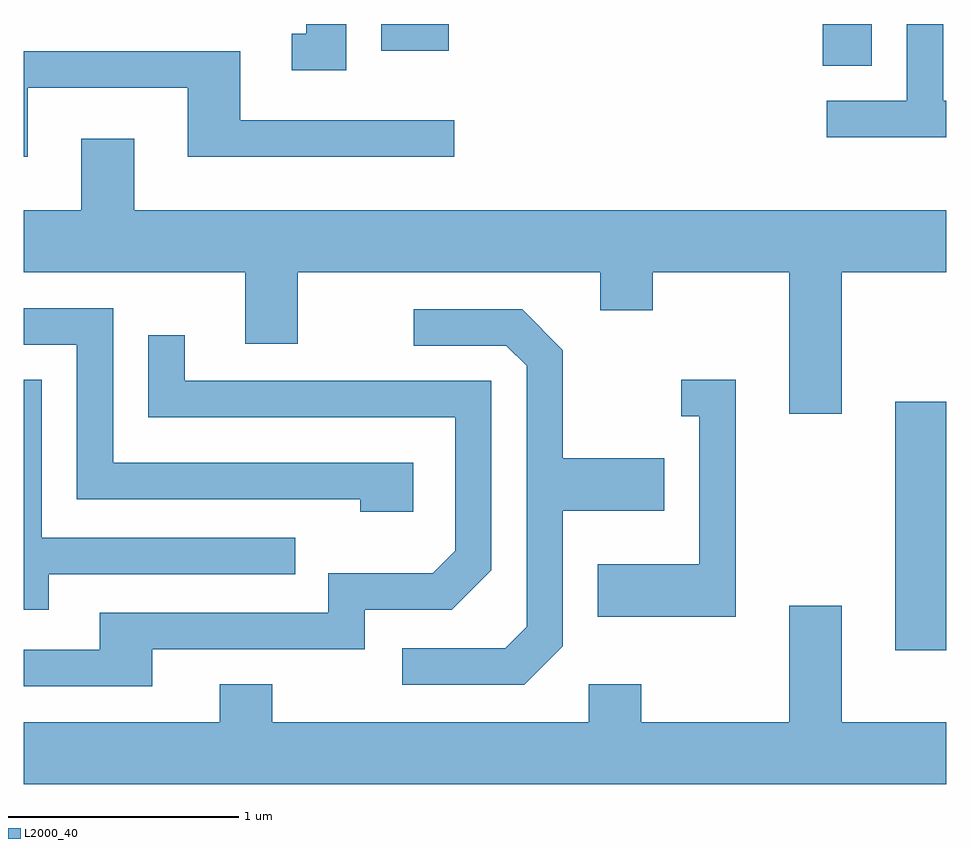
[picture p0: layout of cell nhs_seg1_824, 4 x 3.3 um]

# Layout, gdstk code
import gdstk
lib = gdstk.Library(unit=1e-6, precision=1e-09)
def R(c, l, rs):  # rectangles x0, y0, x1, y1
    for r in rs: c.add(gdstk.rectangle(r[:2], r[2:], *l))
def P(c, l, *ps):  # polygons
    for p in ps: c.add(gdstk.Polygon(p, *l))
L2000_40 = (2000, 40)

nhs_seg1_824 = lib.new_cell('nhs_seg1_824')
R(nhs_seg1_824, L2000_40, [(213.391,948.996,213.611,950.074), (213.076,951.531,213.289,951.712), (211.161,951.596,211.454,951.712)])
P(nhs_seg1_824, L2000_40, [(213.611,951.379),(213.599,951.379),(213.599,951.712),(213.441,951.712),(213.441,951.379),(213.093,951.379),(213.093,951.221),(213.611,951.221)],
  [(211.009,951.712),(210.836,951.712),(210.836,951.669),(210.773,951.669),(210.773,951.511),(211.009,951.511)],
  [(209.629,951.436),(210.321,951.436),(210.321,951.136),(211.478,951.136),(211.478,951.294),(210.549,951.294),(210.549,951.594),(209.611,951.594),(209.611,951.136),(209.629,951.136)],
  [(213.159,950.636),(213.611,950.636),(213.611,950.904),(210.089,950.904),(210.089,951.214),(209.861,951.214),(209.861,950.904),(209.611,950.904),(209.611,950.636),(210.571,950.636),(210.571,950.326),(210.799,950.326),(210.799,950.636),(212.111,950.636),(212.111,950.471),(212.339,950.471),(212.339,950.636),(212.931,950.636),(212.931,950.021),(213.159,950.021)],
  [(211.299,949.809),(209.999,949.809),(209.999,950.479),(209.611,950.479),(209.611,950.321),(209.841,950.321),(209.841,949.651),(211.071,949.651),(211.071,949.596),(211.299,949.596)],
  [(211.949,949.014),(211.949,949.601),(212.389,949.601),(212.389,949.829),(211.949,949.829),(211.949,950.297),(211.772,950.474),(211.303,950.474),(211.303,950.316),(211.704,950.316),(211.791,950.229),(211.791,949.097),(211.699,949.004),(211.253,949.004),(211.253,948.846),(211.782,948.846)],
  [(210.169,949.001),(211.089,949.001),(211.089,949.171),(211.467,949.171),(211.639,949.344),(211.639,950.164),(210.309,950.164),(210.309,950.363),(210.151,950.363),(210.151,950.006),(211.481,950.006),(211.481,949.427),(211.384,949.329),(210.931,949.329),(210.931,949.159),(209.941,949.159),(209.941,948.999),(209.611,948.999),(209.611,948.841),(210.169,948.841)],
  [(212.699,950.169),(212.463,950.169),(212.463,950.011),(212.541,950.011),(212.541,949.369),(212.101,949.369),(212.101,949.141),(212.699,949.141)],
  [(209.719,949.326),(210.788,949.326),(210.788,949.484),(209.689,949.484),(209.689,950.169),(209.611,950.169),(209.611,949.171),(209.719,949.171)],
  [(213.611,948.684),(213.159,948.684),(213.159,949.189),(212.931,949.189),(212.931,948.684),(212.289,948.684),(212.289,948.849),(212.061,948.849),(212.061,948.684),(210.689,948.684),(210.689,948.849),(210.461,948.849),(210.461,948.684),(209.611,948.684),(209.611,948.416),(213.611,948.416)])

lib.write_gds('nhs_seg1_824.gds')
